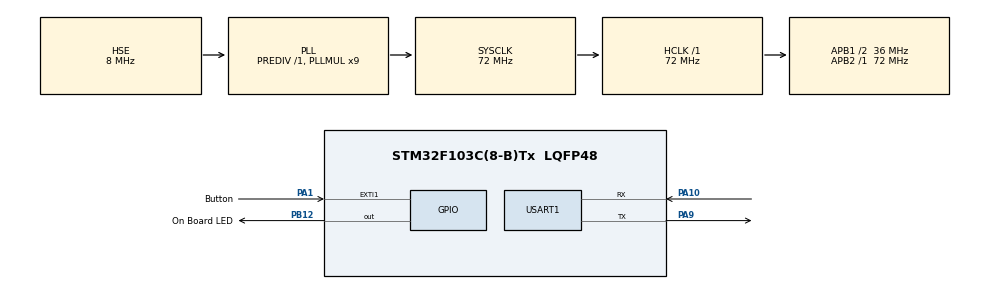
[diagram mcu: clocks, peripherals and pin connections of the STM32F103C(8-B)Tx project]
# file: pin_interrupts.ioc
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Mcu.Family=STM32F1
Mcu.Name=STM32F103C(8-B)Tx
Mcu.Package=LQFP48
NVIC.EXTI1_IRQn=true\:1\:0\:true\:false\:true\:true\:true\:true
NVIC.PriorityGroup=NVIC_PRIORITYGROUP_4
PA1.GPIO_Label=Button
PA1.GPIO_ModeDefaultEXTI=GPIO_MODE_IT_FALLING
PA1.GPIO_PuPd=GPIO_PULLUP
PA1.Signal=GPXTI1
PA10.Mode=Asynchronous
PA10.Signal=USART1_RX
PA13.Mode=Serial_Wire
PA13.Signal=SYS_JTMS-SWDIO
PA14.Mode=Serial_Wire
PA14.Signal=SYS_JTCK-SWCLK
PA9.Mode=Asynchronous
PA9.Signal=USART1_TX
PB12.GPIO_Label=On Board LED
PB12.Signal=GPIO_Output
PD0-OSC_IN.Mode=HSE-External-Oscillator
PD0-OSC_IN.Signal=RCC_OSC_IN
PD1-OSC_OUT.Mode=HSE-External-Oscillator
PD1-OSC_OUT.Signal=RCC_OSC_OUT
ProjectManager.HeapSize=0x200
ProjectManager.StackSize=0x400
ProjectManager.TargetToolchain=STM32CubeIDE
RCC.AHBFreq_Value=72000000
RCC.APB1CLKDivider=RCC_HCLK_DIV2
RCC.APB1Freq_Value=36000000
RCC.APB1TimFreq_Value=72000000
RCC.APB2Freq_Value=72000000
RCC.APB2TimFreq_Value=72000000
RCC.HCLKFreq_Value=72000000
RCC.PLLMUL=RCC_PLL_MUL9
RCC.PLLSourceVirtual=RCC_PLLSOURCE_HSE
RCC.SYSCLKFreq_VALUE=72000000
RCC.SYSCLKSource=RCC_SYSCLKSOURCE_PLLCLK
RCC.USBFreq_Value=72000000
USART1.StopBits=STOPBITS_2
USART1.VirtualMode=VM_ASYNC
board=custom

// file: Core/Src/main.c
/* USER CODE BEGIN Header */
/**
 ******************************************************************************
 * @file           : main.c
 * @brief          : Main program body
 ******************************************************************************
 * @attention
 *
 * Copyright (c) 2022 STMicroelectronics.
 * All rights reserved.
 *
 * This software is licensed under terms that can be found in the LICENSE file
 * in the root directory of this software component.
 * If no LICENSE file comes with this software, it is provided AS-IS.
 *
 ******************************************************************************
 */
/* USER CODE END Header */
#include "main.h"
/* USER CODE BEGIN Includes */
#include <stdbool.h>
#include <stdio.h>
/* USER CODE END Includes */

UART_HandleTypeDef huart1;

void SystemClock_Config(void);
static void MX_GPIO_Init(void);
static void MX_USART1_UART_Init(void);

/* USER CODE BEGIN 0 */
bool enable = false;
bool state_changed = false;	// to store if interrupt has changed the enable state
void HAL_GPIO_EXTI_Callback(uint16_t GPIO_Pin) {
	/* Prevent unused argument(s) compilation warning */
	UNUSED(GPIO_Pin);

	if (GPIO_Pin == Button_Pin) {
		enable = !enable;
		// to print the state in serial
		state_changed = true;
	}
}

char buffer[10];
int buf_len;
/* USER CODE END 0 */

int main(void) {

	/* MCU Configuration--------------------------------------------------------*/

	/* Reset of all peripherals, Initializes the Flash interface and the Systick. */
	HAL_Init();

	/* Configure the system clock */
	SystemClock_Config();

	/* Initialize all configured peripherals */
	MX_GPIO_Init();
	MX_USART1_UART_Init();

	/* Infinite loop */
	/* USER CODE BEGIN WHILE */
	while (1) {
		if (enable) {
			HAL_GPIO_TogglePin(On_Board_LED_GPIO_Port, On_Board_LED_Pin);
		} else {
			HAL_GPIO_WritePin(On_Board_LED_GPIO_Port, On_Board_LED_Pin,
					GPIO_PIN_SET);
		}

		if (state_changed) {
			buf_len = sprintf(buffer, "%s\r\n", enable ? "True" : "False");
			HAL_UART_Transmit(&huart1, (uint8_t*) buffer, buf_len, 20);
			state_changed = false;
		}
		HAL_Delay(200);
		/* USER CODE END WHILE */

	}
}

void SystemClock_Config(void) {
	RCC_OscInitTypeDef RCC_OscInitStruct = { 0 };
	RCC_ClkInitTypeDef RCC_ClkInitStruct = { 0 };

	/** Initializes the RCC Oscillators according to the specified parameters
	 * in the RCC_OscInitTypeDef structure.
	 */
	RCC_OscInitStruct.OscillatorType = RCC_OSCILLATORTYPE_HSE;
	RCC_OscInitStruct.HSEState = RCC_HSE_ON;
	RCC_OscInitStruct.HSEPredivValue = RCC_HSE_PREDIV_DIV1;
	RCC_OscInitStruct.HSIState = RCC_HSI_ON;
	RCC_OscInitStruct.PLL.PLLState = RCC_PLL_ON;
	RCC_OscInitStruct.PLL.PLLSource = RCC_PLLSOURCE_HSE;
	RCC_OscInitStruct.PLL.PLLMUL = RCC_PLL_MUL9;
	if (HAL_RCC_OscConfig(&RCC_OscInitStruct) != HAL_OK) {
		Error_Handler();
	}

	/** Initializes the CPU, AHB and APB buses clocks
	 */
	RCC_ClkInitStruct.ClockType = RCC_CLOCKTYPE_HCLK | RCC_CLOCKTYPE_SYSCLK
			| RCC_CLOCKTYPE_PCLK1 | RCC_CLOCKTYPE_PCLK2;
	RCC_ClkInitStruct.SYSCLKSource = RCC_SYSCLKSOURCE_PLLCLK;
	RCC_ClkInitStruct.AHBCLKDivider = RCC_SYSCLK_DIV1;
	RCC_ClkInitStruct.APB1CLKDivider = RCC_HCLK_DIV2;
	RCC_ClkInitStruct.APB2CLKDivider = RCC_HCLK_DIV1;

	if (HAL_RCC_ClockConfig(&RCC_ClkInitStruct, FLASH_LATENCY_2) != HAL_OK) {
		Error_Handler();
	}
}

static void MX_USART1_UART_Init(void) {

	huart1.Instance = USART1;
	huart1.Init.BaudRate = 115200;
	huart1.Init.WordLength = UART_WORDLENGTH_8B;
	huart1.Init.StopBits = UART_STOPBITS_2;
	huart1.Init.Parity = UART_PARITY_NONE;
	huart1.Init.Mode = UART_MODE_TX_RX;
	huart1.Init.HwFlowCtl = UART_HWCONTROL_NONE;
	huart1.Init.OverSampling = UART_OVERSAMPLING_16;
	if (HAL_UART_Init(&huart1) != HAL_OK) {
		Error_Handler();
	}

}

static void MX_GPIO_Init(void) {
	GPIO_InitTypeDef GPIO_InitStruct = { 0 };

	/* GPIO Ports Clock Enable */
	__HAL_RCC_GPIOD_CLK_ENABLE();
	__HAL_RCC_GPIOA_CLK_ENABLE();
	__HAL_RCC_GPIOB_CLK_ENABLE();

	/*Configure GPIO pin Output Level */
	HAL_GPIO_WritePin(On_Board_LED_GPIO_Port, On_Board_LED_Pin, GPIO_PIN_RESET);

	/*Configure GPIO pin : Button_Pin */
	GPIO_InitStruct.Pin = Button_Pin;
	GPIO_InitStruct.Mode = GPIO_MODE_IT_FALLING;
	GPIO_InitStruct.Pull = GPIO_PULLUP;
	HAL_GPIO_Init(Button_GPIO_Port, &GPIO_InitStruct);

	/*Configure GPIO pin : On_Board_LED_Pin */
	GPIO_InitStruct.Pin = On_Board_LED_Pin;
	GPIO_InitStruct.Mode = GPIO_MODE_OUTPUT_PP;
	GPIO_InitStruct.Pull = GPIO_NOPULL;
	GPIO_InitStruct.Speed = GPIO_SPEED_FREQ_LOW;
	HAL_GPIO_Init(On_Board_LED_GPIO_Port, &GPIO_InitStruct);

	/* EXTI interrupt init*/
	HAL_NVIC_SetPriority(EXTI1_IRQn, 1, 0);
	HAL_NVIC_EnableIRQ(EXTI1_IRQn);

}

void Error_Handler(void) {
	__disable_irq();
	while (1) {
	}
}
